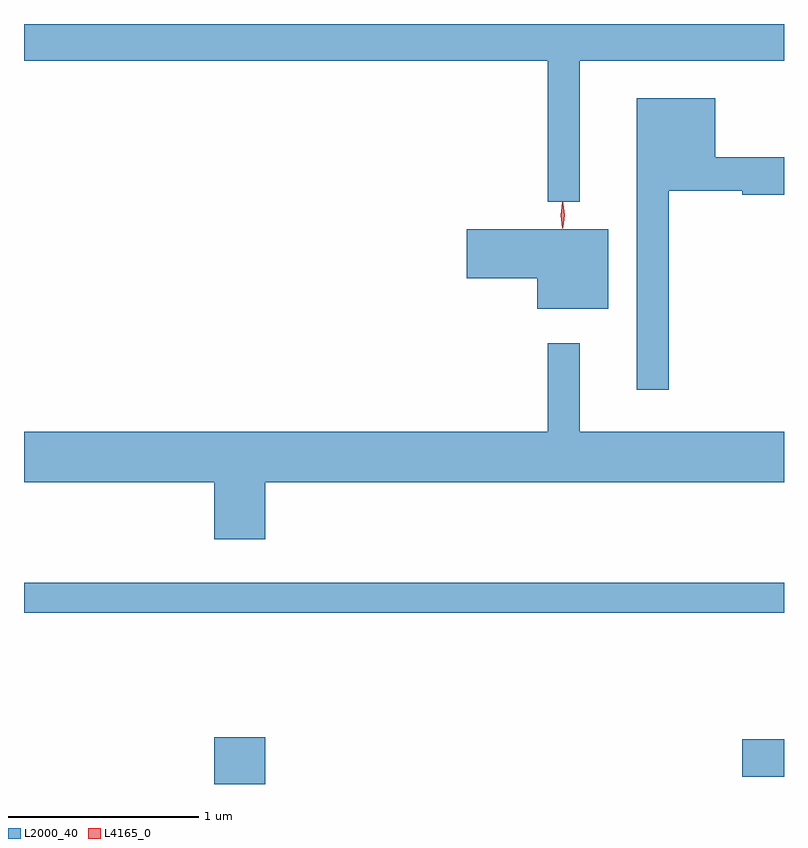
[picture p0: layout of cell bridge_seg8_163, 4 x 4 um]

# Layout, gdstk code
import gdstk
lib = gdstk.Library(unit=1e-6, precision=1e-09)
def R(c, l, rs):  # rectangles x0, y0, x1, y1
    for r in rs: c.add(gdstk.rectangle(r[:2], r[2:], *l))
def P(c, l, *ps):  # polygons
    for p in ps: c.add(gdstk.Polygon(p, *l))
L2000_40 = (2000, 40)
L4165_0 = (4165, 0)

bridge_seg8_163 = lib.new_cell('bridge_seg8_163')
R(bridge_seg8_163, L2000_40, [(1433.856,1914.749,1434.124,1914.994), (1436.636,1914.786,1436.855,1914.984), (1432.855,1915.651,1436.855,1915.809)])
P(bridge_seg8_163, L2000_40, [(1435.779,1918.556),(1436.855,1918.556),(1436.855,1918.749),(1432.855,1918.749),(1432.855,1918.556),(1435.611,1918.556),(1435.611,1917.813),(1435.779,1917.813)],
  [(1436.249,1917.871),(1436.636,1917.871),(1436.636,1917.851),(1436.855,1917.851),(1436.855,1918.049),(1436.494,1918.049),(1436.494,1918.359),(1436.081,1918.359),(1436.081,1916.823),(1436.249,1916.823)],
  [(1435.929,1917.669),(1435.186,1917.669),(1435.186,1917.411),(1435.556,1917.411),(1435.556,1917.251),(1435.929,1917.251)],
  [(1434.124,1916.336),(1436.855,1916.336),(1436.855,1916.604),(1435.779,1916.604),(1435.779,1917.068),(1435.611,1917.068),(1435.611,1916.604),(1432.855,1916.604),(1432.855,1916.336),(1433.856,1916.336),(1433.856,1916.036),(1434.124,1916.036)])
P(bridge_seg8_163, L4165_0, [(1435.689,1917.674),(1435.689,1917.674),(1435.679,1917.742),(1435.689,1917.81),(1435.689,1917.81),(1435.69,1917.81),(1435.699,1917.742),(1435.69,1917.674)],
  [(1435.692,1917.68),(1435.692,1917.68),(1435.682,1917.743),(1435.692,1917.806),(1435.692,1917.807),(1435.693,1917.806),(1435.702,1917.743),(1435.693,1917.68)])

lib.write_gds('bridge_seg8_163.gds')
